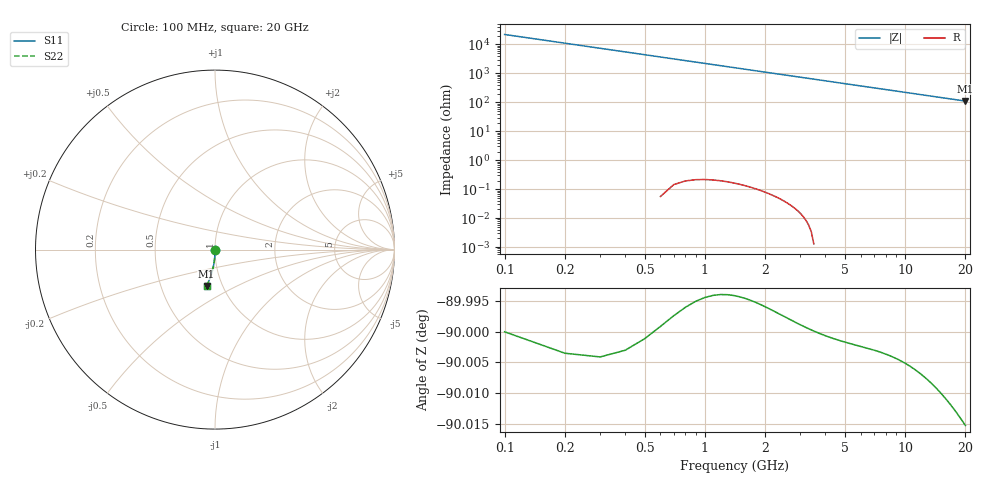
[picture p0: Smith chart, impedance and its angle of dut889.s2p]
! Touchstone file exported from HFSS 2026.1.0
!  File:  C:/ffzhzh/LocalFiles/Ansys_Project_Files/temp_train_TSV_889_1783185929_43440.aedt
!  Generated:  01:26:38 AM Jul  5, 2026
!  Design:  TSV
!  Project:  temp_train_TSV_889_1783185929_43440
! Variables:
!  h_bsmrdl = 2um
!  h_ox = 20um
!  h_rdl = 5um
!  h_sub = 65.41um
!  h_tmrdl = 5um
!  h_tsv = 65.41um
!  h_via = 3um
!  l_bsmrdl = 300um
!  l_sub = 428.8um
!  l_tmrdl = 200um
!  m_sub = 200um
!  pitch = 29.92um
!  r_tsv = 14.4um
!  s_tmrdl = 10um
!  w_bsmrdl = 18um
!  w_sub = 500um
!  w_tmrdl = 12um
!  x_tsv_center1 = 206um
!  x_tsv_center2 = 524um
!  x_tsv_center3 = 736um
!  x_tsv_center4 = 1054um
!  x_tsv_center5 = 1266um
!  x_tsv_center6 = 1584um
# GHz S MA R 50.000000
! Terminal data exported
! Port[1] = TSV1_1_T1
! Port[2] = TSV1_1_T2
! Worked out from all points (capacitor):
!   200 points, 100 MHz to 20 GHz, reference 50 ohm
!   read as one part in shunt: C = 71.9 fF near 200 MHz
!   lowest |Z| = 111 ohm at 20 GHz (marker M1)
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0.1  0.001001 -85.1  0.9999 -0.1  0.9999 -0.1  0.001001 -85.1
! Gamma 0 0 0 0
! Port Impedance 50 0 50 0
0.2  0.002004 -87.0  0.9999 -0.1  0.9999 -0.1  0.002004 -87.0
0.3  0.003019 -87.5  0.9999 -0.2  0.9999 -0.2  0.003019 -87.5
0.4  0.004046 -87.8  0.9998 -0.3  0.9998 -0.3  0.004046 -87.8
0.5  0.005084 -87.9  0.9998 -0.4  0.9998 -0.4  0.005084 -87.9
0.7  0.00718 -88.3  0.9997 -0.5  0.9997 -0.5  0.00718 -88.3
0.8  0.008233 -88.4  0.9997 -0.6  0.9997 -0.6  0.008233 -88.4
1  0.01035 -88.8  0.9996 -0.7  0.9996 -0.7  0.01035 -88.8
1.2  0.01246 -89.1  0.9995 -0.8  0.9995 -0.8  0.01246 -89.1
1.4  0.01457 -89.4  0.9995 -1.0  0.9995 -1.0  0.01457 -89.4
1.7  0.01774 -89.7  0.9994 -1.2  0.9994 -1.2  0.01774 -89.7
2  0.02091 -90.1  0.9993 -1.4  0.9993 -1.4  0.02091 -90.1
2.7  0.02831 -90.8  0.999 -1.9  0.999 -1.9  0.02831 -90.8
3.5  0.03676 -91.4  0.9987 -2.4  0.9987 -2.4  0.03676 -91.4
4.2  0.04415 -92.0  0.9983 -2.9  0.9983 -2.9  0.04415 -92.0
5  0.0526 -92.6  0.9978 -3.4  0.9978 -3.4  0.0526 -92.6
6.8  0.0716 -93.9  0.9965 -4.7  0.9965 -4.7  0.0716 -93.9
8.3  0.08739 -95.0  0.9951 -5.7  0.9951 -5.7  0.08739 -95.0
10.1  0.1062 -96.3  0.9932 -6.9  0.9932 -6.9  0.1062 -96.3
13.4  0.1405 -98.6  0.9887 -9.1  0.9887 -9.1  0.1405 -98.6
16.7  0.1742 -100.8  0.9831 -11.3  0.9831 -11.3  0.1742 -100.8
20  0.2073 -103.0  0.9765 -13.5  0.9765 -13.5  0.2073 -103.0
